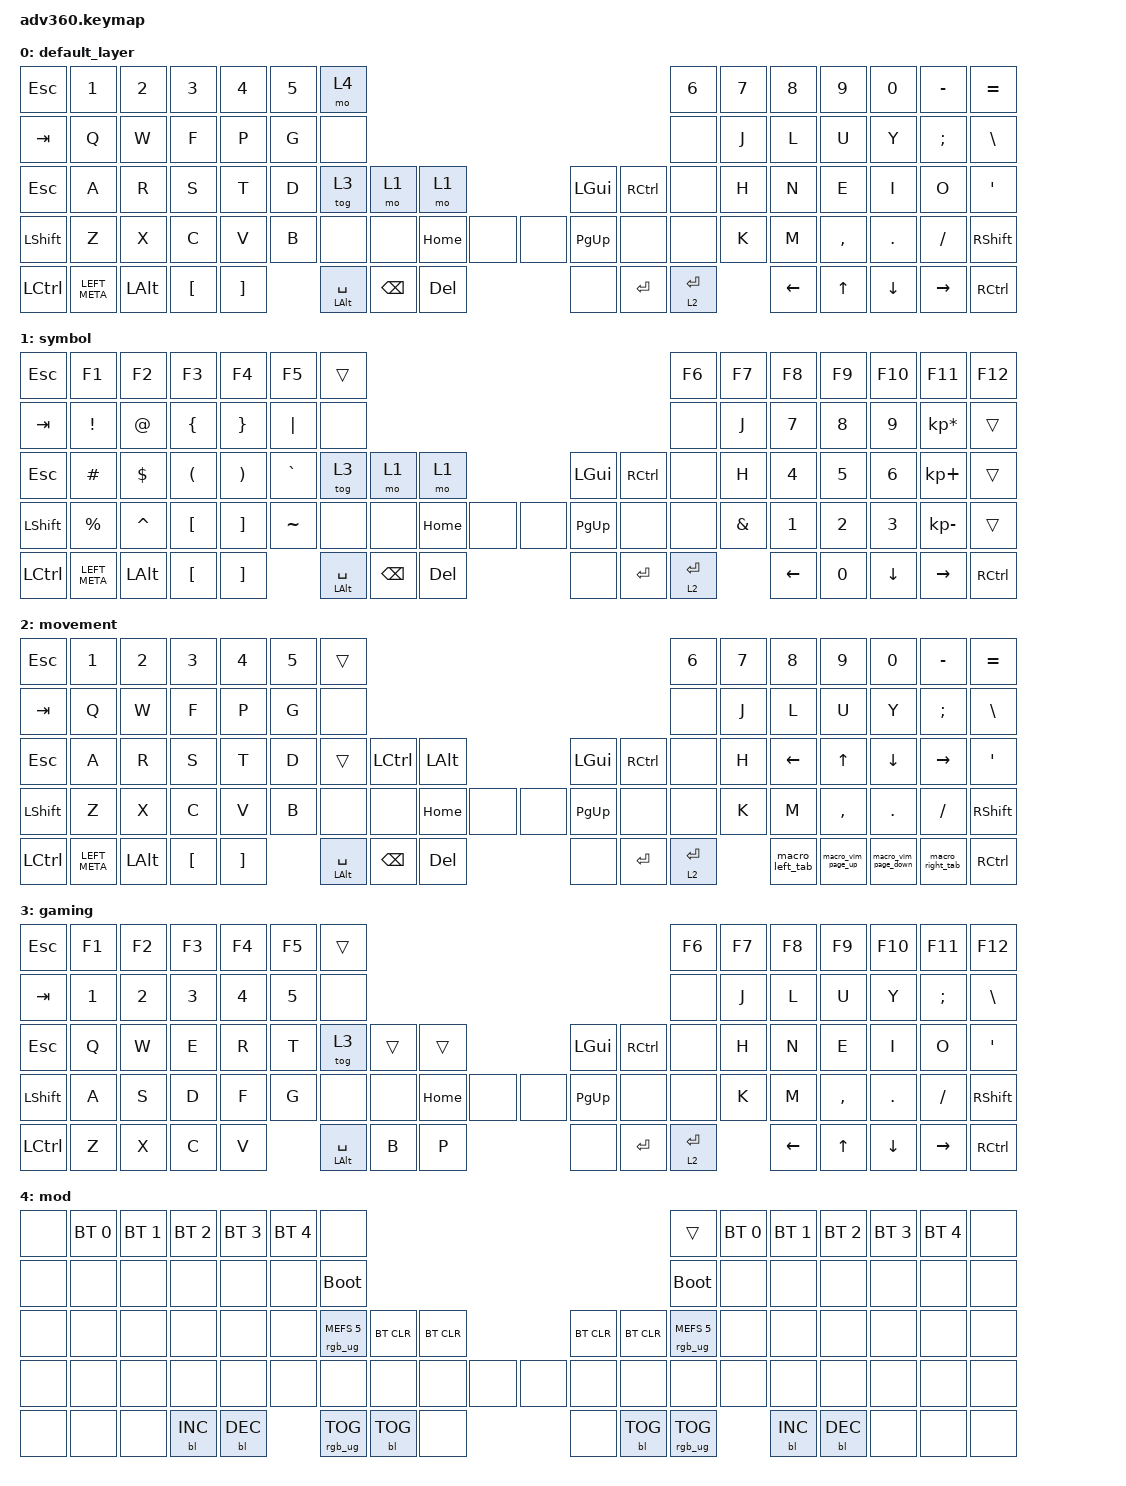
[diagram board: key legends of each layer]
#include <behaviors.dtsi>
#include <dt-bindings/zmk/keys.h>
#include <dt-bindings/zmk/bt.h>
#include <dt-bindings/zmk/rgb.h>
#include <dt-bindings/zmk/backlight.h>

/ {
    behaviors {
      #include "macros.dtsi"

      hm: homerow_mods {
          compatible = "zmk,behavior-hold-tap";
          label = "HOMEROW_MODS";
          #binding-cells = <2>;
          tapping-term-ms = <120>;
          quick_tap_ms = <175>;
          flavor = "hold-preferred";
          bindings = <&kp>, <&kp>;
      };

      ht: hold_tap {
            compatible = "zmk,behavior-hold-tap";
            label = "POSITIONAL_HOLD_TAP";
            #binding-cells = <2>;
            flavor = "tap-preferred";
            tapping-term-ms = <120>;
            bindings = <&kp>, <&kp>;
          };
    
      flt: fast_layer_tap {
            compatible = "zmk,behavior-hold-tap";
            label = "FAST_LAYER_TAP";
            #binding-cells = <2>;
            flavor = "hold-preferred";
            tapping-term-ms = <120>;
            quick-tap-ms = <200>;
            bindings = <&mo>, <&kp>;
          };

      };

  macros {
    macro_vsplit: macro_vsplit {
      compatible = "zmk,behavior-macro";
      label = "macro_vsplit";
      #binding-cells = <0>;
      wait-ms = <10>;
      bindings = <&kp SPACE>, <&kp W>, <&kp V>;
    };
    macro_left_tab: macro_left_tab {
      compatible = "zmk,behavior-macro";
      label = "macro_left_tab";
      #binding-cells = <0>;
      wait-ms = <10>;
      bindings = <&kp LC(LS(TAB))>;
    };
    macro_right_tab: macro_right_tab {
      compatible = "zmk,behavior-macro";
      label = "macro_right_tab";
      #binding-cells = <0>;
      wait-ms = <10>;
      bindings = <&kp LC(TAB)>;
    };
    macro_vim_page_down: macro_vim_page_down {
      compatible = "zmk,behavior-macro";
      label = "macro_vim_page_down";
      #binding-cells = <0>;
      wait-ms = <10>;
      bindings = <&kp LC(D)>;
    };
    macro_vim_page_up: macro_vim_page_up {
      compatible = "zmk,behavior-macro";
      label = "macro_vim_page_up";
      #binding-cells = <0>;
      wait-ms = <10>;
      bindings = <&kp LC(U)>;
    };
  };


  combos {
      compatible = "zmk,combos";
      combo_vsplit {
          timeout-ms = <50>;
          layers = <0>;
          key-positions = <16 46>;
          bindings = <&macro_vsplit>;
      };
  };

  keymap {
    compatible = "zmk,keymap";

    default_layer {
      bindings = <
        &kp ESC &kp N1    &kp N2   &kp N3   &kp N4     &kp N5 &mo 4                                                                       &kp N6 &kp N7 &kp N8    &kp N9   &kp N0   &kp MINUS &kp EQUAL
        &kp TAB   &kp Q     &kp W    &kp F    &kp P      &kp G  &none                                                                        &none &kp J  &kp L  &kp U     &kp Y    &kp SEMI    &kp BSLH
        &kp ESC   &kp A     &kp R    &kp S    &kp T      &kp D  &tog 3           &mo 1 &mo 1             &kp LGUI  &kp RCTRL           &none &kp H  &kp N  &kp E     &kp I    &kp O &kp SQT
        &kp LSHFT &kp Z     &kp X    &kp C    &kp V      &kp B         &none    &none     &kp HOME &none &none &kp PG_UP &none     &none           &kp K  &kp M  &kp COMMA &kp DOT  &kp FSLH &kp RSHFT
        &kp LCTRL     &kp LEFT_META &kp LALT &kp LBKT &kp RBKT                &ht LALT SPACE &kp BSPC   &kp DEL              &none &kp ENTER &flt 2 ENTER              &kp LEFT &kp UP  &kp DOWN &kp RIGHT &kp RCTRL
      >;
    };
    symbol {
      bindings = <
        &kp ESC &kp F1   &kp F2   &kp F3   &kp F4     &kp F5 &trans                                                                       &kp F6 &kp F7 &kp F8 &kp F9 &kp F10 &kp F11 &kp F12
        &kp TAB   &kp EXCLAMATION     &kp AT_SIGN    &kp LBRC    &kp RBRC      &kp PIPE  &none                                                                        &none &kp J  &kp N7  &kp N8    &kp N9     &kp KP_MULTIPLY    &trans
        &kp ESC   &kp HASH     &kp DLLR    &kp LPAR    &kp RPAR      &kp GRAVE  &tog 3           &mo 1 &mo 1             &kp LGUI  &kp RCTRL           &none &kp H  &kp N4  &kp N5    &kp N6     &kp KP_PLUS     &trans
        &kp LSHFT &kp PRCNT     &kp CARET    &kp LBKT    &kp RBKT      &kp TILDE         &none    &none     &kp HOME &none &none &kp PG_UP &none     &none           &kp AMPS  &kp N1  &kp N2    &kp N3     &kp KP_MINUS    &trans
        &kp LCTRL     &kp LEFT_META &kp LALT &kp LBKT &kp RBKT                &ht LALT SPACE &kp BSPC   &kp DEL              &none &kp ENTER &flt 2 ENTER              &kp LEFT &kp N0  &kp DOWN &kp RIGHT &kp RCTRL
      >;
    };
    movement {
      bindings = <
        &kp ESC &kp N1    &kp N2   &kp N3   &kp N4     &kp N5 &trans                                                                     &kp N6 &kp N7 &kp N8    &kp N9   &kp N0   &kp MINUS &kp EQUAL
        &kp TAB   &kp Q     &kp W    &kp F    &kp P      &kp G  &none                                                                        &none &kp J  &kp L  &kp U     &kp Y    &kp SEMI    &kp BSLH
        &kp ESC   &kp A     &kp R    &kp S    &kp T      &kp D  &trans           &kp LCTRL &kp LALT             &kp LGUI  &kp RCTRL           &none &kp H  &kp LEFT  &kp UP     &kp DOWN    &kp RIGHT &kp SQT
        &kp LSHFT &kp Z     &kp X    &kp C    &kp V      &kp B         &none    &none     &kp HOME &none &none &kp PG_UP &none     &none           &kp K  &kp M  &kp COMMA &kp DOT  &kp FSLH &kp RSHFT
        &kp LCTRL     &kp LEFT_META &kp LALT &kp LBKT &kp RBKT                &ht LALT SPACE &kp BSPC   &kp DEL              &none &kp ENTER &flt 2 ENTER              &macro_left_tab &macro_vim_page_up  &macro_vim_page_down  &macro_right_tab &kp RCTRL
      >;
    };
    gaming {
      bindings = <
        &kp ESC &kp F1   &kp F2   &kp F3   &kp F4     &kp F5 &trans                                                                       &kp F6 &kp F7 &kp F8 &kp F9 &kp F10 &kp F11 &kp F12
        &kp TAB   &kp N1     &kp N2    &kp N3    &kp N4      &kp N5  &none                                                                        &none &kp J  &kp L  &kp U     &kp Y    &kp SEMI    &kp BSLH
        &kp ESC   &kp Q     &kp W    &kp E    &kp R      &kp T  &tog 3           &trans &trans             &kp LGUI  &kp RCTRL           &none &kp H  &kp N  &kp E     &kp I    &kp O &kp SQT
        &kp LSHFT &kp A     &kp S    &kp D    &kp F      &kp G         &none    &none     &kp HOME &none &none &kp PG_UP &none     &none           &kp K  &kp M  &kp COMMA &kp DOT  &kp FSLH &kp RSHFT
        &kp LCTRL     &kp Z &kp X &kp C &kp V                &ht LALT SPACE &kp B   &kp P              &none &kp ENTER &flt 2 ENTER              &kp LEFT &kp UP  &kp DOWN &kp RIGHT &kp RCTRL
      >;
    };
    mod {
      bindings = <
        &none &bt BT_SEL 0 &bt BT_SEL 1 &bt BT_SEL 2 &bt BT_SEL 3 &bt BT_SEL 4 &none                                                                                                          &trans                 &bt BT_SEL 0 &bt BT_SEL 1 &bt BT_SEL 2 &bt BT_SEL 3 &bt BT_SEL 4 &none
        &none &none        &none        &none        &none        &none        &bootloader                                                                                                    &bootloader            &none        &none        &none        &none        &none        &none
        &none &none        &none        &none        &none        &none        &rgb_ug RGB_MEFS_CMD 5                 &bt BT_CLR &bt BT_CLR             &bt BT_CLR &bt BT_CLR                 &rgb_ug RGB_MEFS_CMD 5 &none        &none        &none        &none        &none        &none
        &none &none        &none        &none        &none        &none                               &none           &none      &none      &none &none &none      &none      &none                                  &none        &none        &none        &none        &none        &none
        &none &none        &none        &bl BL_INC   &bl BL_DEC                                       &rgb_ug RGB_TOG &bl BL_TOG &none                  &none      &bl BL_TOG &rgb_ug RGB_TOG                                     &bl BL_INC   &bl BL_DEC   &none        &none        &none
      >;
    };
  };
};
